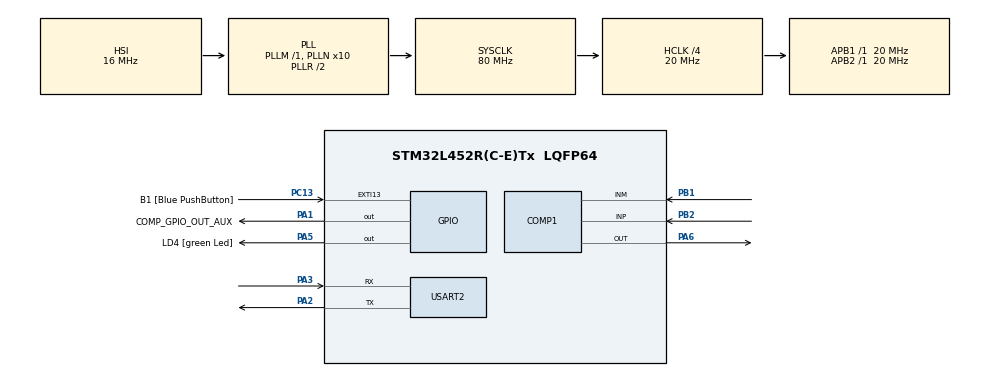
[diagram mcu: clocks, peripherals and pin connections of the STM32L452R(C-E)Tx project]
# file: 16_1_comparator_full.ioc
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COMP1.BlankingSrce=COMP_BLANKINGSRC_NONE
COMP1.Hysteresis=COMP_HYSTERESIS_HIGH
COMP1.Mode=COMP_POWERMODE_ULTRALOWPOWER
COMP1.TriggerMode=COMP_TRIGGERMODE_IT_RISING
Mcu.Family=STM32L4
Mcu.Name=STM32L452R(C-E)Tx
Mcu.Package=LQFP64
NVIC.COMP_IRQn=true\:0\:0\:false\:false\:true\:false\:true\:true
NVIC.PriorityGroup=NVIC_PRIORITYGROUP_4
NVIC.TIM2_IRQn=true\:0\:0\:false\:false\:true\:true\:true\:true
PA1.GPIO_Label=COMP_GPIO_OUT_AUX
PA1.GPIO_PuPd=GPIO_PULLDOWN
PA1.Signal=GPIO_Output
PA13\ (JTMS/SWDIO).GPIO_Label=TMS
PA13\ (JTMS/SWDIO).Mode=Serial_Wire
PA13\ (JTMS/SWDIO).Signal=SYS_JTMS-SWDIO
PA14\ (JTCK/SWCLK).GPIO_Label=TCK
PA14\ (JTCK/SWCLK).Mode=Serial_Wire
PA14\ (JTCK/SWCLK).Signal=SYS_JTCK-SWCLK
PA2.GPIO_Mode=GPIO_MODE_AF_PP
PA2.GPIO_ModeDefaultPP=GPIO_MODE_AF_PP
PA2.GPIO_PuPd=GPIO_NOPULL
PA2.GPIO_Speed=GPIO_SPEED_FREQ_VERY_HIGH
PA2.Mode=Asynchronous
PA2.Signal=USART2_TX
PA3.GPIO_Mode=GPIO_MODE_AF_PP
PA3.GPIO_ModeDefaultPP=GPIO_MODE_AF_PP
PA3.GPIO_PuPd=GPIO_NOPULL
PA3.GPIO_Speed=GPIO_SPEED_FREQ_VERY_HIGH
PA3.Mode=Asynchronous
PA3.Signal=USART2_RX
PA5.GPIO_Label=LD4 [green Led]
PA5.GPIO_ModeDefaultOutputPP=GPIO_MODE_OUTPUT_PP
PA5.GPIO_PuPd=GPIO_NOPULL
PA5.GPIO_Speed=GPIO_SPEED_FREQ_LOW
PA5.Signal=GPIO_Output
PA6.GPIO_Speed=GPIO_SPEED_FREQ_VERY_HIGH
PA6.Mode=ExternalOutput
PA6.Signal=COMP1_OUT
PB1.Mode=INM
PB1.Signal=COMP1_INM
PB2.Mode=INP
PB2.Signal=COMP1_INP
PC13.GPIO_Label=B1 [Blue PushButton]
PC13.GPIO_ModeDefaultEXTI=GPIO_MODE_IT_FALLING
PC13.GPIO_PuPd=GPIO_NOPULL
PC13.Signal=GPXTI13
PC14-OSC32_IN\ (PC14).Mode=LSE-External-Oscillator
PC14-OSC32_IN\ (PC14).Signal=RCC_OSC32_IN
PC15-OSC32_OUT\ (PC15).Mode=LSE-External-Oscillator
PC15-OSC32_OUT\ (PC15).Signal=RCC_OSC32_OUT
PH0-OSC_IN\ (PH0).Mode=HSE-External-Oscillator
PH0-OSC_IN\ (PH0).Signal=RCC_OSC_IN
PH1-OSC_OUT\ (PH1).Mode=HSE-External-Oscillator
PH1-OSC_OUT\ (PH1).Signal=RCC_OSC_OUT
ProjectManager.HeapSize=0x200
ProjectManager.StackSize=0x400
ProjectManager.TargetToolchain=STM32CubeIDE
RCC.ADCFreq_Value=64000000
RCC.AHBCLKDivider=RCC_SYSCLK_DIV4
RCC.AHBFreq_Value=20000000
RCC.APB1Freq_Value=20000000
RCC.APB1TimFreq_Value=20000000
RCC.APB2Freq_Value=20000000
RCC.APB2TimFreq_Value=20000000
RCC.CortexFreq_Value=20000000
RCC.HCLKFreq_Value=20000000
RCC.HSE_VALUE=8000000
RCC.HSI48_VALUE=48000000
RCC.HSI_VALUE=16000000
RCC.MSI_VALUE=4000000
RCC.PLLN=10
RCC.PLLSourceVirtual=RCC_PLLSOURCE_HSI
RCC.SYSCLKFreq_VALUE=80000000
RCC.SYSCLKSource=RCC_SYSCLKSOURCE_PLLCLK
RCC.USBFreq_Value=64000000
RCC.VCOOutputFreq_Value=160000000
TIM2.Period=20000000 - 1
USART2.VirtualMode-Asynchronous=VM_ASYNC
VP_TIM2_VS_ClockSourceINT.Mode=Internal
board=NUCLEO-L452RE

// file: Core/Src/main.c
/* USER CODE BEGIN Header */
/**
  ******************************************************************************
  * @file           : main.c
  * @brief          : Main program body
  ******************************************************************************
  * @attention
  *
  * Copyright (c) 2022 STMicroelectronics.
  * All rights reserved.
  *
  * This software is licensed under terms that can be found in the LICENSE file
  * in the root directory of this software component.
  * If no LICENSE file comes with this software, it is provided AS-IS.
  *
  ******************************************************************************
  */
/* USER CODE END Header */
#include "main.h"

/* USER CODE BEGIN Includes */
#include "string.h"
#include "stdlib.h"
/* USER CODE END Includes */

/* USER CODE BEGIN PM */
int interruptCount = 0;
char bufferTx[100] = {'\0'};
/* USER CODE END PM */

COMP_HandleTypeDef hcomp1;

TIM_HandleTypeDef htim2;

UART_HandleTypeDef huart2;

void SystemClock_Config(void);
static void MX_GPIO_Init(void);
static void MX_USART2_UART_Init(void);
static void MX_COMP1_Init(void);
static void MX_TIM2_Init(void);

int main(void)
{

  /* MCU Configuration--------------------------------------------------------*/

  /* Reset of all peripherals, Initializes the Flash interface and the Systick. */
  HAL_Init();

  /* Configure the system clock */
  SystemClock_Config();

  /* Initialize all configured peripherals */
  MX_GPIO_Init();
  MX_USART2_UART_Init();
  MX_COMP1_Init();
  MX_TIM2_Init();
  /* USER CODE BEGIN 2 */
  HAL_COMP_Start(&hcomp1);
  HAL_TIM_Base_Start_IT(&htim2);

  /* USER CODE END 2 */

  /* Infinite loop */
  /* USER CODE BEGIN WHILE */
  while (1)
  {
	  __NOP();
    /* USER CODE END WHILE */

  }
}

void SystemClock_Config(void)
{
  RCC_OscInitTypeDef RCC_OscInitStruct = {0};
  RCC_ClkInitTypeDef RCC_ClkInitStruct = {0};

  /** Configure the main internal regulator output voltage
  */
  if (HAL_PWREx_ControlVoltageScaling(PWR_REGULATOR_VOLTAGE_SCALE1) != HAL_OK)
  {
    Error_Handler();
  }

  /** Initializes the RCC Oscillators according to the specified parameters
  * in the RCC_OscInitTypeDef structure.
  */
  RCC_OscInitStruct.OscillatorType = RCC_OSCILLATORTYPE_HSI;
  RCC_OscInitStruct.HSIState = RCC_HSI_ON;
  RCC_OscInitStruct.HSICalibrationValue = RCC_HSICALIBRATION_DEFAULT;
  RCC_OscInitStruct.PLL.PLLState = RCC_PLL_ON;
  RCC_OscInitStruct.PLL.PLLSource = RCC_PLLSOURCE_HSI;
  RCC_OscInitStruct.PLL.PLLM = 1;
  RCC_OscInitStruct.PLL.PLLN = 10;
  RCC_OscInitStruct.PLL.PLLP = RCC_PLLP_DIV7;
  RCC_OscInitStruct.PLL.PLLQ = RCC_PLLQ_DIV2;
  RCC_OscInitStruct.PLL.PLLR = RCC_PLLR_DIV2;
  if (HAL_RCC_OscConfig(&RCC_OscInitStruct) != HAL_OK)
  {
    Error_Handler();
  }

  /** Initializes the CPU, AHB and APB buses clocks
  */
  RCC_ClkInitStruct.ClockType = RCC_CLOCKTYPE_HCLK|RCC_CLOCKTYPE_SYSCLK
                              |RCC_CLOCKTYPE_PCLK1|RCC_CLOCKTYPE_PCLK2;
  RCC_ClkInitStruct.SYSCLKSource = RCC_SYSCLKSOURCE_PLLCLK;
  RCC_ClkInitStruct.AHBCLKDivider = RCC_SYSCLK_DIV4;
  RCC_ClkInitStruct.APB1CLKDivider = RCC_HCLK_DIV1;
  RCC_ClkInitStruct.APB2CLKDivider = RCC_HCLK_DIV1;

  if (HAL_RCC_ClockConfig(&RCC_ClkInitStruct, FLASH_LATENCY_1) != HAL_OK)
  {
    Error_Handler();
  }
}

static void MX_COMP1_Init(void)
{

  hcomp1.Instance = COMP1;
  hcomp1.Init.InvertingInput = COMP_INPUT_MINUS_IO1;
  hcomp1.Init.NonInvertingInput = COMP_INPUT_PLUS_IO2;
  hcomp1.Init.OutputPol = COMP_OUTPUTPOL_NONINVERTED;
  hcomp1.Init.Hysteresis = COMP_HYSTERESIS_HIGH;
  hcomp1.Init.BlankingSrce = COMP_BLANKINGSRC_NONE;
  hcomp1.Init.Mode = COMP_POWERMODE_ULTRALOWPOWER;
  hcomp1.Init.WindowMode = COMP_WINDOWMODE_DISABLE;
  hcomp1.Init.TriggerMode = COMP_TRIGGERMODE_IT_RISING;
  if (HAL_COMP_Init(&hcomp1) != HAL_OK)
  {
    Error_Handler();
  }

}

static void MX_TIM2_Init(void)
{

  TIM_ClockConfigTypeDef sClockSourceConfig = {0};
  TIM_MasterConfigTypeDef sMasterConfig = {0};

  htim2.Instance = TIM2;
  htim2.Init.Prescaler = 0;
  htim2.Init.CounterMode = TIM_COUNTERMODE_UP;
  htim2.Init.Period = 20000000 - 1;
  htim2.Init.ClockDivision = TIM_CLOCKDIVISION_DIV1;
  htim2.Init.AutoReloadPreload = TIM_AUTORELOAD_PRELOAD_DISABLE;
  if (HAL_TIM_Base_Init(&htim2) != HAL_OK)
  {
    Error_Handler();
  }
  sClockSourceConfig.ClockSource = TIM_CLOCKSOURCE_INTERNAL;
  if (HAL_TIM_ConfigClockSource(&htim2, &sClockSourceConfig) != HAL_OK)
  {
    Error_Handler();
  }
  sMasterConfig.MasterOutputTrigger = TIM_TRGO_RESET;
  sMasterConfig.MasterSlaveMode = TIM_MASTERSLAVEMODE_DISABLE;
  if (HAL_TIMEx_MasterConfigSynchronization(&htim2, &sMasterConfig) != HAL_OK)
  {
    Error_Handler();
  }

}

static void MX_USART2_UART_Init(void)
{

  huart2.Instance = USART2;
  huart2.Init.BaudRate = 115200;
  huart2.Init.WordLength = UART_WORDLENGTH_8B;
  huart2.Init.StopBits = UART_STOPBITS_1;
  huart2.Init.Parity = UART_PARITY_NONE;
  huart2.Init.Mode = UART_MODE_TX_RX;
  huart2.Init.HwFlowCtl = UART_HWCONTROL_NONE;
  huart2.Init.OverSampling = UART_OVERSAMPLING_16;
  huart2.Init.OneBitSampling = UART_ONE_BIT_SAMPLE_DISABLE;
  huart2.AdvancedInit.AdvFeatureInit = UART_ADVFEATURE_NO_INIT;
  if (HAL_UART_Init(&huart2) != HAL_OK)
  {
    Error_Handler();
  }

}

static void MX_GPIO_Init(void)
{
  GPIO_InitTypeDef GPIO_InitStruct = {0};

  /* GPIO Ports Clock Enable */
  __HAL_RCC_GPIOC_CLK_ENABLE();
  __HAL_RCC_GPIOH_CLK_ENABLE();
  __HAL_RCC_GPIOA_CLK_ENABLE();
  __HAL_RCC_GPIOB_CLK_ENABLE();

  /*Configure GPIO pin Output Level */
  HAL_GPIO_WritePin(GPIOA, COMP_GPIO_OUT_AUX_Pin|LD4_Pin, GPIO_PIN_RESET);

  /*Configure GPIO pin : B1_Pin */
  GPIO_InitStruct.Pin = B1_Pin;
  GPIO_InitStruct.Mode = GPIO_MODE_IT_FALLING;
  GPIO_InitStruct.Pull = GPIO_NOPULL;
  HAL_GPIO_Init(B1_GPIO_Port, &GPIO_InitStruct);

  /*Configure GPIO pin : COMP_GPIO_OUT_AUX_Pin */
  GPIO_InitStruct.Pin = COMP_GPIO_OUT_AUX_Pin;
  GPIO_InitStruct.Mode = GPIO_MODE_OUTPUT_PP;
  GPIO_InitStruct.Pull = GPIO_PULLDOWN;
  GPIO_InitStruct.Speed = GPIO_SPEED_FREQ_LOW;
  HAL_GPIO_Init(COMP_GPIO_OUT_AUX_GPIO_Port, &GPIO_InitStruct);

  /*Configure GPIO pin : LD4_Pin */
  GPIO_InitStruct.Pin = LD4_Pin;
  GPIO_InitStruct.Mode = GPIO_MODE_OUTPUT_PP;
  GPIO_InitStruct.Pull = GPIO_NOPULL;
  GPIO_InitStruct.Speed = GPIO_SPEED_FREQ_LOW;
  HAL_GPIO_Init(LD4_GPIO_Port, &GPIO_InitStruct);

}

/* USER CODE BEGIN 4 */
void HAL_COMP_TriggerCallback(COMP_HandleTypeDef* hcomp){
	interruptCount++;
	HAL_GPIO_TogglePin(COMP_GPIO_OUT_AUX_GPIO_Port, COMP_GPIO_OUT_AUX_Pin);
}

void HAL_TIM_PeriodElapsedCallback(TIM_HandleTypeDef* htim){
	itoa(interruptCount, bufferTx, 10);
	strcat(bufferTx, " interrupciones del COMP por segundo\n");
	HAL_UART_Transmit(&huart2, (uint8_t*)bufferTx, (uint16_t)strlen(bufferTx), HAL_MAX_DELAY);

	itoa(hcomp1.ErrorCode, bufferTx, 10);
	strcat(bufferTx, " <-- codigo de error\n\n");
	HAL_UART_Transmit(&huart2, (uint8_t*)bufferTx, (uint16_t)strlen(bufferTx), HAL_MAX_DELAY);
	interruptCount = 0;
}
/* USER CODE END 4 */

void Error_Handler(void)
{
  /* USER CODE BEGIN Error_Handler_Debug */
  /* User can add his own implementation to report the HAL error return state */
  __disable_irq();
  while (1)
  {
	  /* Toggle LED2 */
	  HAL_GPIO_TogglePin(GPIOA, GPIO_PIN_5);

	  /* Add a delay */
	  HAL_Delay(100);
  }
  /* USER CODE END Error_Handler_Debug */
}
